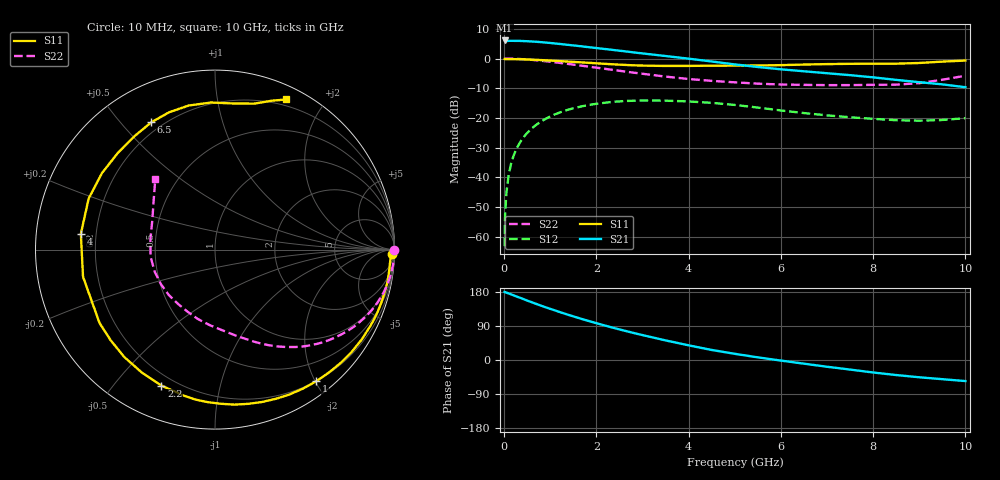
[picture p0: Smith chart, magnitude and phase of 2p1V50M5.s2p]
! (c) 2009  Infineon Technologies AG, Munich
! Infineon Technologies  Discrete & RF Semiconductors
! BFP420
! VCE =  1.5 V,  IC =  0.5 mA
! Common Emitter S-Parameters:  Nov 2009
# GHz  S  MA  R  50
!  f  S11  S21  S12  S22
! GHz  MAG  ANG  MAG  ANG  MAG  ANG  MAG  ANG
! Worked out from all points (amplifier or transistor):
!   46 points, 10 MHz to 10 GHz, reference 50 ohm
!   highest |S21| = 6.1 dB at 10 MHz (marker M1)
!   |S21| within 3 dB of that: start of sweep to 2.256 GHz
!   unconditionally stable (mu >= 1): 4.415 GHz to end of sweep
!   at 300 MHz: K = 0.02, MSG = 17.7 dB, |S12| = -29.4 dB
!   at 1.7 GHz: K = 0.29, MSG = 10.0 dB, |S12| = -16.0 dB
!   at 10 GHz: K = 1.55, MAG = 0.8 dB, |S12| = -20.1 dB
!   lowest NFmin = 0.68 dB at 900 MHz
!   S11 on the Smith chart (normalised r, x): 10 MHz: 38, -57; 1 GHz: 0.20, -2.02; 2.2 GHz: 0.15, -0.67; 4 GHz: 0.14, +0.06; 6.5 GHz: 0.16, +0.61; 10 GHz: 0.13, +1.57
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0.01  0.9839 -1.4  2.016 179.6  0.0007 83.6  0.9984 -0.2
0.02  0.9789 -1.0  1.961 179.4  0.0023 90.5  0.9981 -0.6
0.05  0.9796 -2.6  1.97 177.7  0.0056 88.7  0.9982 -1.5
0.1  0.9775 -5.3  1.987 175.6  0.0113 86.9  0.9973 -3.2
0.15  0.9778 -7.8  1.989 173.1  0.017 85.4  0.9955 -4.7
0.2  0.9779 -10.5  1.99 170.9  0.0227 83.5  0.9928 -6.3
0.35  0.9721 -18.3  1.979 163.9  0.0396 78.4  0.9814 -10.9
0.5  0.9645 -26.2  1.957 156.9  0.0562 73.2  0.9645 -15.4
0.7  0.9512 -36.8  1.917 147.8  0.0774 66.2  0.9356 -21.2
1  0.9254 -52.4  1.829 134.9  0.1063 56.3  0.8841 -29.2
1.3  0.8979 -67.8  1.729 122.8  0.1314 46.8  0.8284 -36.3
1.7  0.8597 -87.8  1.6 107.7  0.1583 34.8  0.7548 -44.8
2.2  0.8143 -111.5  1.444 90.4  0.1815 21.1  0.6699 -54.1
2.8  0.7702 -139.0  1.271 71.5  0.1955 5.9  0.5801 -64.2
3.5  0.7507 -168.4  1.103 51.7  0.196 -9.5  0.4972 -75.7
4  0.7525 173.3  0.996 38.7  0.19 -18.6  0.4531 -84.4
4.5  0.7592 158.0  0.893 26.5  0.18 -27.0  0.4216 -94.1
5.5  0.7636 135.1  0.721 7.0  0.15 -39.5  0.3785 -113.7
6.5  0.793 116.6  0.611 -9.7  0.1212 -44.5  0.3609 -135.4
7  0.8069 108.4  0.567 -17.8  0.1109 -44.4  0.3576 -147.0
8.5  0.8208 82.5  0.438 -39.7  0.0919 -38.8  0.3643 171.0
10  0.9259 64.6  0.33 -55.6  0.0994 -26.9  0.5146 130.3
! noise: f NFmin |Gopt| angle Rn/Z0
0.9  0.68  0.78  35  0.65
1.8  1.42  0.6  75  0.5
2.4  1.57  0.58  98  0.37
3  2.1  0.58  128  0.24
4  2.49  0.57  177  0.09
